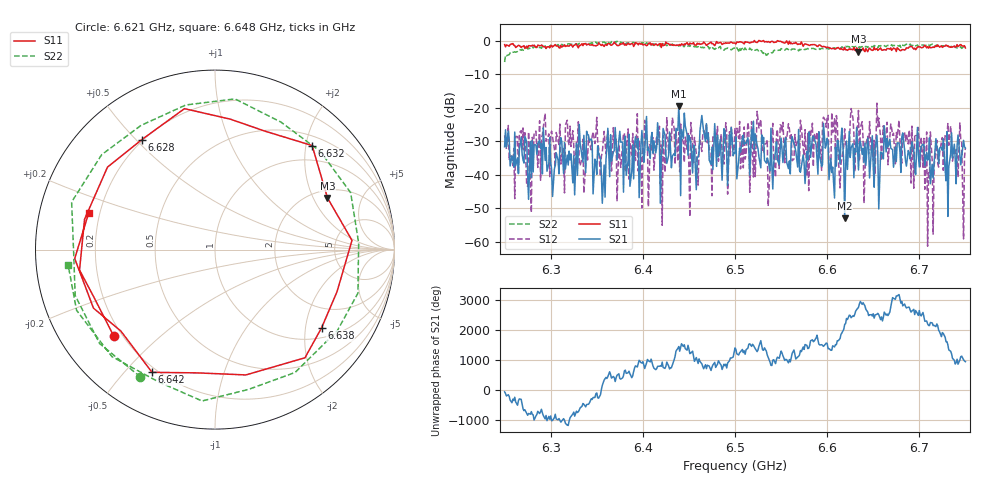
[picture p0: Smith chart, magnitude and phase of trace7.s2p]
# Hz S RI R 50
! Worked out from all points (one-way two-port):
!   401 points, 6.25 GHz to 6.75 GHz, reference 50 ohm
!   highest |S21| = -19.41 dB at 6.439 GHz (marker M1); lowest = -53.0 dB at 6.619 GHz (marker M2)
!   lowest |S11| = -3.2 dB at 6.634 GHz (marker M3), VSWR 5.44, Z = 118 + j130 ohm
!   |S11| at or under -10 dB: nowhere
!   |S22| runs from -6.3 to -0.1 dB; largest |S21 - S12| = 0.15
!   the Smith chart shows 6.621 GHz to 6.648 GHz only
!   S11 on the Smith chart (normalised r, x): 6.621 GHz: 0.17, -0.36; 6.628 GHz: 0.19, +0.52; 6.632 GHz: 0.68, +2.12; 6.638 GHz: 1.29, -2.46; 6.642 GHz: 0.18, -0.60; 6.648 GHz: 0.16, +0.14
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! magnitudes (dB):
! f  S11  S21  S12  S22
! 6.25 GHz  -1.1  -31.6  -28.2  -6.3
! 6.27 GHz  -1.6  -35.6  -26.0  -2.8
! 6.276 GHz  -1.4  -47.3  -27.2  -2.3
! 6.292 GHz  -1.7  -26.0  -25.8  -1.8
! 6.334 GHz  -0.8  -34.4  -34.8  -1.0
! 6.358 GHz  -1.6  -37.0  -27.0  -0.4
! 6.372 GHz  -1.3  -35.5  -47.9  -0.1
! 6.418 GHz  -0.9  -30.3  -25.5  -0.9
! 6.439 GHz  -1.3  -19.4  -27.3  -1.5
! 6.5 GHz  -0.7  -33.4  -26.0  -2.0
! 6.584 GHz  -1.1  -28.8  -24.6  -2.2
! 6.619 GHz  -1.9  -53.0  -26.2  -1.7
! 6.621 GHz  -2.6  -29.9  -31.3  -1.7
! 6.628 GHz  -2.7  -30.7  -23.1  -1.7
! 6.632 GHz  -2.0  -25.7  -29.2  -1.9
! 6.634 GHz  -3.2  -38.5  -20.7  -1.9
! 6.638 GHz  -2.7  -33.8  -24.1  -1.6
! 6.642 GHz  -2.3  -37.1  -30.9  -1.4
! 6.648 GHz  -2.7  -32.4  -33.2  -1.7
! 6.668 GHz  -2.4  -29.3  -28.9  -1.4
! 6.709 GHz  -1.7  -35.6  -61.3  -1.4
! 6.75 GHz  -2.1  -32.0  -31.8  -2.2
